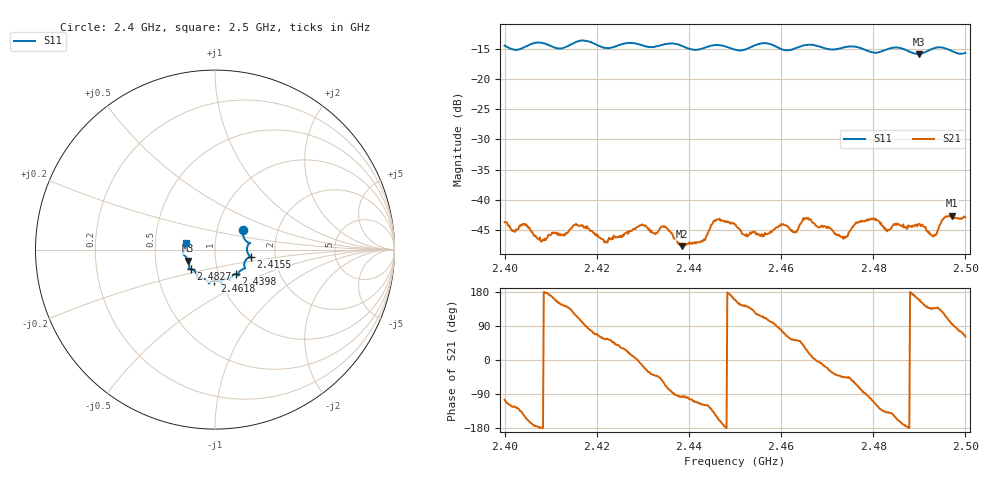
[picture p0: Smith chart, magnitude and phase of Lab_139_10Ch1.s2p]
# Hz S RI R 50
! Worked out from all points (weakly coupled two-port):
!   601 points, 2.4 GHz to 2.5 GHz, reference 50 ohm
!   highest |S21| = -42.65 dB at 2.4972 GHz (marker M1); lowest = -47.7 dB at 2.4385 GHz (marker M2)
!   lowest |S11| = -15.9 dB at 2.4898 GHz (marker M3), VSWR 1.38, Z = 36.8 - j4.61 ohm
!   |S11| at or under -10 dB: start of sweep to end of sweep
!   S12 and S22 are empty: the file has one direction only
!   S11 on the Smith chart (normalised r, x): 2.4 GHz: 1.33, +0.29; 2.4155 GHz: 1.49, -0.12; 2.4398 GHz: 1.21, -0.34; 2.4618 GHz: 0.94, -0.33; 2.4827 GHz: 0.75, -0.17; 2.5 GHz: 0.72, +0.06
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2.4e9  0.1551 0.1066  -0.00168 -0.00631  0 0  0 0
2.408333e9  0.1939 0.0368  -0.00467 -6.27e-05  0 0  0 0
2.4155e9  0.1978 -0.0395  -0.00291 0.00562  0 0  0 0
2.416667e9  0.2027 -0.0429  -0.00125 0.00596  0 0  0 0
2.422e9  0.1674 -0.0643  0.00252 0.00367  0 0  0 0
2.433333e9  0.13 -0.1343  0.00397 -0.00379  0 0  0 0
2.4385e9  0.1258 -0.1385  -0.000546 -0.0041  0 0  0 0
2.439833e9  0.1151 -0.1362  -0.000691 -0.00426  0 0  0 0
2.443167e9  0.0876 -0.1564  -0.00219 -0.00406  0 0  0 0
2.445833e9  0.0838 -0.1707  -0.00571 -0.00379  0 0  0 0
2.45e9  0.0644 -0.1619  -0.00586 0.00218  0 0  0 0
2.4525e9  0.0407 -0.1715  -0.0041 0.00318  0 0  0 0
2.461833e9  -0.00315 -0.1728  0.00304 0.00487  0 0  0 0
2.466667e9  -0.0347 -0.1879  0.00648 0.0012  0 0  0 0
2.4735e9  -0.085 -0.1602  0.00337 -0.00338  0 0  0 0
2.479e9  -0.1035 -0.1336  -0.000805 -0.0067  0 0  0 0
2.482667e9  -0.135 -0.1086  -0.00418 -0.00382  0 0  0 0
2.483333e9  -0.1401 -0.1083  -0.00423 -0.00371  0 0  0 0
2.489833e9  -0.1484 -0.061  -0.00594 0.0021  0 0  0 0
2.493167e9  -0.1774 -0.0258  -0.00366 0.00349  0 0  0 0
2.497167e9  -0.1689 -0.00523  -0.000519 0.00735  0 0  0 0
2.5e9  -0.1593 0.039  0.00343 0.00629  0 0  0 0
